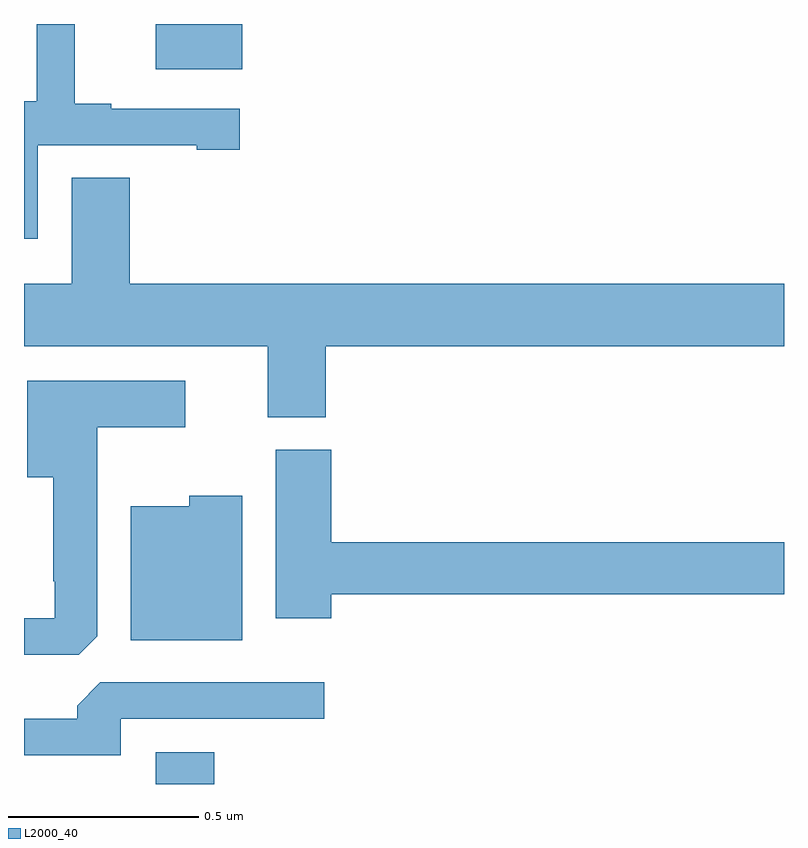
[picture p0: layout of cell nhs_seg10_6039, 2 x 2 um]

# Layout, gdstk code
import gdstk
lib = gdstk.Library(unit=1e-6, precision=1e-09)
def R(c, l, rs):  # rectangles x0, y0, x1, y1
    for r in rs: c.add(gdstk.rectangle(r[:2], r[2:], *l))
def P(c, l, *ps):  # polygons
    for p in ps: c.add(gdstk.Polygon(p, *l))
L2000_40 = (2000, 40)

nhs_seg10_6039 = lib.new_cell('nhs_seg10_6039')
R(nhs_seg10_6039, L2000_40, [(186.347,1296.5,186.5,1296.583), (186.347,1298.381,186.574,1298.5)])
P(nhs_seg10_6039, L2000_40, [(186.036,1298.181),(186.455,1298.181),(186.455,1298.169),(186.568,1298.169),(186.568,1298.277),(186.229,1298.277),(186.229,1298.29),(186.134,1298.29),(186.134,1298.5),(186.034,1298.5),(186.034,1298.297),(186,1298.297),(186,1297.935),(186.036,1297.935)],
  [(186.278,1298.096),(186.125,1298.096),(186.125,1297.816),(186,1297.816),(186,1297.652),(186.641,1297.652),(186.641,1297.465),(186.794,1297.465),(186.794,1297.652),(188,1297.652),(188,1297.816),(186.278,1297.816)],
  [(186.193,1296.889),(186.193,1297.439),(186.424,1297.439),(186.424,1297.561),(186.008,1297.561),(186.008,1297.307),(186.077,1297.307),(186.077,1297.033),(186.081,1297.033),(186.081,1296.936),(186,1296.936),(186,1296.84),(186.144,1296.84)],
  [(186.809,1297),(188,1297),(188,1297.136),(186.809,1297.136),(186.809,1297.38),(186.662,1297.38),(186.662,1296.936),(186.809,1296.936)],
  [(186.574,1297.258),(186.435,1297.258),(186.435,1297.231),(186.281,1297.231),(186.281,1296.878),(186.574,1296.878)],
  [(186.255,1296.672),(186.79,1296.672),(186.79,1296.768),(186.201,1296.768),(186.14,1296.706),(186.14,1296.672),(186,1296.672),(186,1296.576),(186.255,1296.576)])

lib.write_gds('nhs_seg10_6039.gds')
